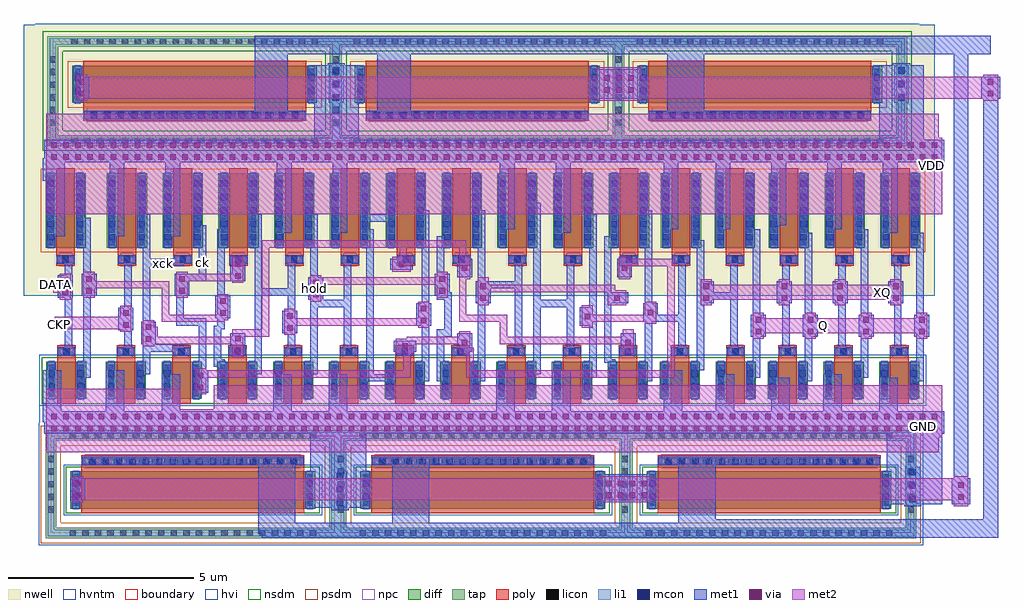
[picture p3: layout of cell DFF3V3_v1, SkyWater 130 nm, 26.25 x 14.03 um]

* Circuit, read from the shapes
.subckt DFF3V3_v1 CKP DATA GND Q VDD XQ ck hold xck
XM1 n1 DATA GND GND sky130_fd_pr__nfet_g5v0d10v5 w=1 l=0.5
XM2 GND n2 n3 GND sky130_fd_pr__nfet_g5v0d10v5 w=1 l=6 m=3
XM3 xck CKP GND GND sky130_fd_pr__nfet_g5v0d10v5 w=1 l=0.5
XM4 ck xck GND GND sky130_fd_pr__nfet_g5v0d10v5 w=1 l=0.5
XM5 n4 xck n1 GND sky130_fd_pr__nfet_g5v0d10v5 w=1 l=0.5
XM6 hold n4 GND GND sky130_fd_pr__nfet_g5v0d10v5 w=1 l=0.5
XM7 n5 hold GND GND sky130_fd_pr__nfet_g5v0d10v5 w=1 l=0.5
XM8 n4 ck n5 GND sky130_fd_pr__nfet_g5v0d10v5 w=1 l=0.5
XM9 n6 ck hold GND sky130_fd_pr__nfet_g5v0d10v5 w=1 l=0.5
XM10 n7 n6 GND GND sky130_fd_pr__nfet_g5v0d10v5 w=1 l=0.5
XM11 n8 n7 GND GND sky130_fd_pr__nfet_g5v0d10v5 w=1 l=0.5
XM12 n8 xck n6 GND sky130_fd_pr__nfet_g5v0d10v5 w=1 l=0.5
XM13 XQ n8 GND GND sky130_fd_pr__nfet_g5v0d10v5 w=1 l=0.5
XM14 Q XQ GND GND sky130_fd_pr__nfet_g5v0d10v5 w=1 l=0.5 m=4
XM15 n1 DATA VDD VDD sky130_fd_pr__pfet_g5v0d10v5 w=2 l=0.5
XM16 VDD n3 n2 VDD sky130_fd_pr__pfet_g5v0d10v5 w=1 l=6 m=3
XM17 xck CKP VDD VDD sky130_fd_pr__pfet_g5v0d10v5 w=2 l=0.5
XM18 ck xck VDD VDD sky130_fd_pr__pfet_g5v0d10v5 w=2 l=0.5
XM19 n4 ck n1 VDD sky130_fd_pr__pfet_g5v0d10v5 w=2 l=0.5
XM20 hold n4 VDD VDD sky130_fd_pr__pfet_g5v0d10v5 w=2 l=0.5
XM21 n5 hold VDD VDD sky130_fd_pr__pfet_g5v0d10v5 w=2 l=0.5
XM22 n4 xck n5 VDD sky130_fd_pr__pfet_g5v0d10v5 w=2 l=0.5
XM23 n6 xck hold VDD sky130_fd_pr__pfet_g5v0d10v5 w=2 l=0.5
XM24 n7 n6 VDD VDD sky130_fd_pr__pfet_g5v0d10v5 w=2 l=0.5
XM25 n8 n7 VDD VDD sky130_fd_pr__pfet_g5v0d10v5 w=2 l=0.5
XM26 n8 ck n6 VDD sky130_fd_pr__pfet_g5v0d10v5 w=2 l=0.5
XM27 XQ n8 VDD VDD sky130_fd_pr__pfet_g5v0d10v5 w=2 l=0.5
XM28 Q XQ VDD VDD sky130_fd_pr__pfet_g5v0d10v5 w=2 l=0.5 m=4
.ends

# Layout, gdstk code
import gdstk
lib = gdstk.Library(unit=1e-6, precision=1e-09)
def R(c, l, rs):  # rectangles x0, y0, x1, y1
    for r in rs: c.add(gdstk.rectangle(r[:2], r[2:], *l))
def A(c, l, x, y, w, h, nx, ny, dx, dy):  # array of equal rectangles
    R(c, l, [(x+i*dx, y+j*dy, x+i*dx+w, y+j*dy+h) for i in range(nx) for j in range(ny)])
nwell = (64, 20)
diff = (65, 20)
tap = (65, 44)
poly = (66, 20)
licon = (66, 44)
li1 = (67, 20)
mcon = (67, 44)
met1 = (68, 20)
via = (68, 44)
met2 = (69, 20)
hvi = (75, 20)
nsdm = (93, 44)
psdm = (94, 20)
npc = (95, 20)
hvntm = (125, 20)
boundary = (235, 4)

sky130_fd_pr__nfet_g5v0d = lib.new_cell('sky130_fd_pr__nfet_g5v0d10v5_D3ALWW')
R(sky130_fd_pr__nfet_g5v0d, diff, [(-3.29,-0.655,3.29,0.345)])
R(sky130_fd_pr__nfet_g5v0d, tap, [(-3.96,-1.455,3.96,-1.165), (-3.96,-1.165,-3.67,1.165), (3.67,-1.165,3.96,1.165), (-3.96,1.165,3.96,1.455)])
R(sky130_fd_pr__nfet_g5v0d, poly, [(-3,-0.785,3,0.785)])
A(sky130_fd_pr__nfet_g5v0d, licon, -3.315, -1.395, 0.17, 0.17, 20, 2, 0.34, 2.62)
A(sky130_fd_pr__nfet_g5v0d, licon, -3.9, -0.765, 0.17, 0.17, 1, 5, 0, 0.34)
A(sky130_fd_pr__nfet_g5v0d, licon, -3.23, -0.58, 0.17, 0.17, 1, 3, 0, 0.34)
A(sky130_fd_pr__nfet_g5v0d, licon, 3.06, -0.58, 0.17, 0.17, 1, 3, 0, 0.34)
A(sky130_fd_pr__nfet_g5v0d, licon, -2.805, 0.535, 0.17, 0.17, 17, 1, 0.34, 0)
R(sky130_fd_pr__nfet_g5v0d, li1, [(-3.9,-1.395,3.9,-1.225), (-3.9,-1.225,-3.73,1.225), (3.73,-1.225,3.9,1.225), (-3.23,-0.675,-3.06,0.365), (3.06,-0.675,3.23,0.365), (-3,0.535,3,0.705), (-3.9,1.225,3.9,1.395)])
A(sky130_fd_pr__nfet_g5v0d, mcon, -2.785, 0.535, 0.17, 0.17, 16, 1, 0.36, 0)
R(sky130_fd_pr__nfet_g5v0d, mcon, [(-3.23,-0.42,-3.06,-0.25), (3.06,-0.42,3.23,-0.25), (-3.23,-0.06,-3.06,0.11), (3.06,-0.06,3.23,0.11)])
R(sky130_fd_pr__nfet_g5v0d, met1, [(-3.26,-0.655,-3.03,0.345), (3.03,-0.655,3.26,0.345), (-2.98,0.505,2.98,0.735)])
R(sky130_fd_pr__nfet_g5v0d, hvi, [(-4.145,-1.64,4.145,1.64)])
R(sky130_fd_pr__nfet_g5v0d, nsdm, [(-3.415,-0.78,3.415,0.47)])
R(sky130_fd_pr__nfet_g5v0d, psdm, [(-4.085,-1.58,4.085,-1.04), (-4.085,-1.04,-3.545,1.04), (3.545,-1.04,4.085,1.04), (-4.085,1.04,4.085,1.58)])
R(sky130_fd_pr__nfet_g5v0d, npc, [(-2.905,0.435,2.905,0.805)])
R(sky130_fd_pr__nfet_g5v0d, hvntm, [(-3.475,-0.84,3.475,0.53)])
R(sky130_fd_pr__nfet_g5v0d, boundary, [(-3.815,-1.31,3.815,1.31)])

c_sky130_fd_pr__nfet_g5v0d = lib.new_cell('sky130_fd_pr__nfet_g5v0d10v5_LZ9LRW')
R(c_sky130_fd_pr__nfet_g5v0d, diff, [(-3.29,-0.655,3.29,0.345)])
R(c_sky130_fd_pr__nfet_g5v0d, tap, [(-3.96,-1.455,3.96,-1.165), (-3.96,-1.165,-3.67,1.165), (3.67,-1.165,3.96,1.165), (-3.96,1.165,3.96,1.455)])
R(c_sky130_fd_pr__nfet_g5v0d, poly, [(-3,-0.785,3,0.785)])
A(c_sky130_fd_pr__nfet_g5v0d, licon, -3.315, -1.395, 0.17, 0.17, 20, 2, 0.34, 2.62)
A(c_sky130_fd_pr__nfet_g5v0d, licon, -3.9, -0.765, 0.17, 0.17, 1, 5, 0, 0.34)
A(c_sky130_fd_pr__nfet_g5v0d, licon, 3.73, -0.765, 0.17, 0.17, 1, 5, 0, 0.34)
A(c_sky130_fd_pr__nfet_g5v0d, licon, -3.23, -0.58, 0.17, 0.17, 1, 3, 0, 0.34)
A(c_sky130_fd_pr__nfet_g5v0d, licon, 3.06, -0.58, 0.17, 0.17, 1, 3, 0, 0.34)
A(c_sky130_fd_pr__nfet_g5v0d, licon, -2.805, 0.535, 0.17, 0.17, 17, 1, 0.34, 0)
R(c_sky130_fd_pr__nfet_g5v0d, li1, [(-3.9,-1.395,3.9,-1.225), (-3.9,-1.225,-3.73,1.225), (3.73,-1.225,3.9,1.225), (-3.23,-0.675,-3.06,0.365), (3.06,-0.675,3.23,0.365), (-3,0.535,3,0.705), (-3.9,1.225,3.9,1.395)])
A(c_sky130_fd_pr__nfet_g5v0d, mcon, -2.785, 0.535, 0.17, 0.17, 16, 1, 0.36, 0)
R(c_sky130_fd_pr__nfet_g5v0d, mcon, [(-3.23,-0.42,-3.06,-0.25), (3.06,-0.42,3.23,-0.25), (-3.23,-0.06,-3.06,0.11), (3.06,-0.06,3.23,0.11)])
R(c_sky130_fd_pr__nfet_g5v0d, met1, [(-3.26,-0.655,-3.03,0.345), (3.03,-0.655,3.26,0.345), (-2.98,0.505,2.98,0.735)])
R(c_sky130_fd_pr__nfet_g5v0d, hvi, [(-4.145,-1.64,4.145,1.64)])
R(c_sky130_fd_pr__nfet_g5v0d, nsdm, [(-3.415,-0.78,3.415,0.47)])
R(c_sky130_fd_pr__nfet_g5v0d, psdm, [(-4.085,-1.58,4.085,-1.04), (-4.085,-1.04,-3.545,1.04), (3.545,-1.04,4.085,1.04), (-4.085,1.04,4.085,1.58)])
R(c_sky130_fd_pr__nfet_g5v0d, npc, [(-2.905,0.435,2.905,0.805)])
R(c_sky130_fd_pr__nfet_g5v0d, hvntm, [(-3.475,-0.84,3.475,0.53)])
R(c_sky130_fd_pr__nfet_g5v0d, boundary, [(-3.815,-1.31,3.815,1.31)])

c_sky130_fd_pr__nfet_g5v0d_ = lib.new_cell('sky130_fd_pr__nfet_g5v0d10v5_EWJL9U')
R(c_sky130_fd_pr__nfet_g5v0d_, diff, [(-3.29,-0.655,3.29,0.345)])
R(c_sky130_fd_pr__nfet_g5v0d_, tap, [(-3.96,-1.455,3.96,-1.165), (-3.96,-1.165,-3.67,1.165), (3.67,-1.165,3.96,1.165), (-3.96,1.165,3.96,1.455)])
R(c_sky130_fd_pr__nfet_g5v0d_, poly, [(-3,-0.785,3,0.785)])
A(c_sky130_fd_pr__nfet_g5v0d_, licon, -3.315, -1.395, 0.17, 0.17, 20, 2, 0.34, 2.62)
A(c_sky130_fd_pr__nfet_g5v0d_, licon, 3.73, -0.765, 0.17, 0.17, 1, 5, 0, 0.34)
A(c_sky130_fd_pr__nfet_g5v0d_, licon, -3.23, -0.58, 0.17, 0.17, 1, 3, 0, 0.34)
A(c_sky130_fd_pr__nfet_g5v0d_, licon, 3.06, -0.58, 0.17, 0.17, 1, 3, 0, 0.34)
A(c_sky130_fd_pr__nfet_g5v0d_, licon, -2.805, 0.535, 0.17, 0.17, 17, 1, 0.34, 0)
R(c_sky130_fd_pr__nfet_g5v0d_, li1, [(-3.9,-1.395,3.9,-1.225), (-3.9,-1.225,-3.73,1.225), (3.73,-1.225,3.9,1.225), (-3.23,-0.675,-3.06,0.365), (3.06,-0.675,3.23,0.365), (-3,0.535,3,0.705), (-3.9,1.225,3.9,1.395)])
A(c_sky130_fd_pr__nfet_g5v0d_, mcon, -2.785, 0.535, 0.17, 0.17, 16, 1, 0.36, 0)
R(c_sky130_fd_pr__nfet_g5v0d_, mcon, [(-3.23,-0.42,-3.06,-0.25), (3.06,-0.42,3.23,-0.25), (-3.23,-0.06,-3.06,0.11), (3.06,-0.06,3.23,0.11)])
R(c_sky130_fd_pr__nfet_g5v0d_, met1, [(-3.26,-0.655,-3.03,0.345), (3.03,-0.655,3.26,0.345), (-2.98,0.505,2.98,0.735)])
R(c_sky130_fd_pr__nfet_g5v0d_, hvi, [(-4.145,-1.64,4.145,1.64)])
R(c_sky130_fd_pr__nfet_g5v0d_, nsdm, [(-3.415,-0.78,3.415,0.47)])
R(c_sky130_fd_pr__nfet_g5v0d_, psdm, [(-4.085,-1.58,4.085,-1.04), (-4.085,-1.04,-3.545,1.04), (3.545,-1.04,4.085,1.04), (-4.085,1.04,4.085,1.58)])
R(c_sky130_fd_pr__nfet_g5v0d_, npc, [(-2.905,0.435,2.905,0.805)])
R(c_sky130_fd_pr__nfet_g5v0d_, hvntm, [(-3.475,-0.84,3.475,0.53)])
R(c_sky130_fd_pr__nfet_g5v0d_, boundary, [(-3.815,-1.31,3.815,1.31)])

c_sky130_fd_pr__nfet_g5v0d__ = lib.new_cell('sky130_fd_pr__nfet_g5v0d10v5_TNTERH')
R(c_sky130_fd_pr__nfet_g5v0d__, diff, [(-0.54,-0.655,0.54,0.345)])
R(c_sky130_fd_pr__nfet_g5v0d__, poly, [(-0.25,-0.785,0.25,0.785)])
A(c_sky130_fd_pr__nfet_g5v0d__, licon, -0.48, -0.58, 0.17, 0.17, 1, 3, 0, 0.34)
A(c_sky130_fd_pr__nfet_g5v0d__, licon, 0.31, -0.58, 0.17, 0.17, 1, 3, 0, 0.34)
R(c_sky130_fd_pr__nfet_g5v0d__, licon, [(-0.085,0.535,0.085,0.705)])
R(c_sky130_fd_pr__nfet_g5v0d__, li1, [(-0.48,-0.675,-0.31,0.365), (0.31,-0.675,0.48,0.365), (-0.25,0.535,0.25,0.705)])
R(c_sky130_fd_pr__nfet_g5v0d__, mcon, [(-0.48,-0.42,-0.31,-0.25), (0.31,-0.42,0.48,-0.25), (-0.48,-0.06,-0.31,0.11), (0.31,-0.06,0.48,0.11), (-0.085,0.535,0.085,0.705)])
R(c_sky130_fd_pr__nfet_g5v0d__, met1, [(-0.51,-0.655,-0.28,0.345), (0.28,-0.655,0.51,0.345), (-0.23,0.505,0.23,0.735)])
R(c_sky130_fd_pr__nfet_g5v0d__, hvi, [(-0.725,-0.84,0.725,0.53)])
R(c_sky130_fd_pr__nfet_g5v0d__, nsdm, [(-0.665,-0.78,0.665,0.47)])
R(c_sky130_fd_pr__nfet_g5v0d__, npc, [(-0.185,0.435,0.185,0.805)])
R(c_sky130_fd_pr__nfet_g5v0d__, hvntm, [(-0.725,-0.84,0.725,0.53)])

c_sky130_fd_pr__nfet_g5v0d___ = lib.new_cell('sky130_fd_pr__nfet_g5v0d10v5_8PT4UE')
R(c_sky130_fd_pr__nfet_g5v0d___, diff, [(-0.54,-0.655,0.54,0.345)])
R(c_sky130_fd_pr__nfet_g5v0d___, poly, [(-0.25,-0.785,0.25,0.785)])
A(c_sky130_fd_pr__nfet_g5v0d___, licon, -0.48, -0.58, 0.17, 0.17, 1, 3, 0, 0.34)
A(c_sky130_fd_pr__nfet_g5v0d___, licon, 0.31, -0.58, 0.17, 0.17, 1, 3, 0, 0.34)
R(c_sky130_fd_pr__nfet_g5v0d___, licon, [(-0.085,0.535,0.085,0.705)])
R(c_sky130_fd_pr__nfet_g5v0d___, li1, [(-0.48,-0.675,-0.31,0.365), (0.31,-0.675,0.48,0.365), (-0.25,0.535,0.25,0.705)])
R(c_sky130_fd_pr__nfet_g5v0d___, mcon, [(-0.48,-0.42,-0.31,-0.25), (0.31,-0.42,0.48,-0.25), (-0.48,-0.06,-0.31,0.11), (0.31,-0.06,0.48,0.11), (-0.085,0.535,0.085,0.705)])
R(c_sky130_fd_pr__nfet_g5v0d___, met1, [(-0.51,-0.655,-0.28,0.345), (0.28,-0.655,0.51,0.345), (-0.23,0.505,0.23,0.735)])
R(c_sky130_fd_pr__nfet_g5v0d___, hvi, [(-0.725,-0.84,0.725,0.53)])
R(c_sky130_fd_pr__nfet_g5v0d___, nsdm, [(-0.665,-0.78,0.665,0.47)])
R(c_sky130_fd_pr__nfet_g5v0d___, npc, [(-0.185,0.435,0.185,0.805)])
R(c_sky130_fd_pr__nfet_g5v0d___, hvntm, [(-0.725,-0.84,0.725,0.53)])

sky130_fd_pr__pfet_g5v0d = lib.new_cell('sky130_fd_pr__pfet_g5v0d10v5_9TXTD4')
R(sky130_fd_pr__pfet_g5v0d, nwell, [(-4.29,-1.81,4.29,1.81)])
R(sky130_fd_pr__pfet_g5v0d, diff, [(-3.29,-0.32,3.29,0.68)])
R(sky130_fd_pr__pfet_g5v0d, tap, [(-3.96,-1.48,3.96,-1.19), (-3.96,-1.19,-3.67,1.19), (3.67,-1.19,3.96,1.19), (-3.96,1.19,3.96,1.48)])
R(sky130_fd_pr__pfet_g5v0d, poly, [(-3,-0.805,3,0.81)])
A(sky130_fd_pr__pfet_g5v0d, licon, -3.315, -1.42, 0.17, 0.17, 20, 2, 0.34, 2.67)
A(sky130_fd_pr__pfet_g5v0d, licon, -3.9, -0.935, 0.17, 0.17, 1, 6, 0, 0.34)
A(sky130_fd_pr__pfet_g5v0d, licon, -2.805, -0.725, 0.17, 0.17, 17, 1, 0.34, 0)
A(sky130_fd_pr__pfet_g5v0d, licon, -3.23, -0.245, 0.17, 0.17, 1, 3, 0, 0.34)
A(sky130_fd_pr__pfet_g5v0d, licon, 3.06, -0.245, 0.17, 0.17, 1, 3, 0, 0.34)
R(sky130_fd_pr__pfet_g5v0d, li1, [(-3.9,-1.42,3.9,-1.25), (-3.9,-1.25,-3.73,1.25), (3.73,-1.25,3.9,1.25), (-3,-0.725,3,-0.555), (-3.23,-0.34,-3.06,0.7), (3.06,-0.34,3.23,0.7), (-3.9,1.25,3.9,1.42)])
A(sky130_fd_pr__pfet_g5v0d, mcon, -2.785, -0.725, 0.17, 0.17, 16, 1, 0.36, 0)
R(sky130_fd_pr__pfet_g5v0d, mcon, [(-3.23,-0.085,-3.06,0.085), (3.06,-0.085,3.23,0.085), (-3.23,0.275,-3.06,0.445), (3.06,0.275,3.23,0.445)])
R(sky130_fd_pr__pfet_g5v0d, met1, [(-2.98,-0.755,2.98,-0.525), (-3.26,-0.32,-3.03,0.68), (3.03,-0.32,3.26,0.68)])
R(sky130_fd_pr__pfet_g5v0d, hvi, [(-4.29,-1.81,4.29,1.81)])
R(sky130_fd_pr__pfet_g5v0d, nsdm, [(-4.085,-1.605,4.085,-1.065), (-4.085,-1.065,-3.545,1.065), (3.545,-1.065,4.085,1.065), (-4.085,1.065,4.085,1.605)])
R(sky130_fd_pr__pfet_g5v0d, psdm, [(-3.415,-0.445,3.415,0.805)])
R(sky130_fd_pr__pfet_g5v0d, npc, [(-2.905,-0.825,2.905,-0.455)])
R(sky130_fd_pr__pfet_g5v0d, boundary, [(-3.815,-1.335,3.815,1.335)])

c_sky130_fd_pr__pfet_g5v0d = lib.new_cell('sky130_fd_pr__pfet_g5v0d10v5_U6HYY6')
R(c_sky130_fd_pr__pfet_g5v0d, nwell, [(-0.72,-1.32,0.72,1.49)])
R(c_sky130_fd_pr__pfet_g5v0d, diff, [(-0.54,-0.82,0.54,1.18)])
R(c_sky130_fd_pr__pfet_g5v0d, poly, [(-0.25,-1.305,0.25,1.31)])
A(c_sky130_fd_pr__pfet_g5v0d, licon, -0.48, -0.755, 0.17, 0.17, 1, 6, 0, 0.34)
A(c_sky130_fd_pr__pfet_g5v0d, licon, 0.31, -0.755, 0.17, 0.17, 1, 6, 0, 0.34)
R(c_sky130_fd_pr__pfet_g5v0d, licon, [(-0.085,-1.225,0.085,-1.055)])
R(c_sky130_fd_pr__pfet_g5v0d, li1, [(-0.25,-1.225,0.25,-1.055), (-0.48,-0.84,-0.31,1.2), (0.31,-0.84,0.48,1.2)])
A(c_sky130_fd_pr__pfet_g5v0d, mcon, -0.48, -0.625, 0.17, 0.17, 1, 5, 0, 0.36)
A(c_sky130_fd_pr__pfet_g5v0d, mcon, 0.31, -0.625, 0.17, 0.17, 1, 5, 0, 0.36)
R(c_sky130_fd_pr__pfet_g5v0d, mcon, [(-0.085,-1.225,0.085,-1.055)])
R(c_sky130_fd_pr__pfet_g5v0d, met1, [(-0.23,-1.255,0.23,-1.025), (-0.51,-0.82,-0.28,1.18), (0.28,-0.82,0.51,1.18)])
R(c_sky130_fd_pr__pfet_g5v0d, hvi, [(-0.72,-1.32,0.72,-1.005), (-0.725,-1.005,0.725,1.365), (-0.72,1.365,0.72,1.49)])
R(c_sky130_fd_pr__pfet_g5v0d, psdm, [(-0.665,-0.945,0.665,1.305)])
R(c_sky130_fd_pr__pfet_g5v0d, npc, [(-0.185,-1.325,0.185,-0.955)])

c_sky130_fd_pr__pfet_g5v0d_ = lib.new_cell('sky130_fd_pr__pfet_g5v0d10v5_U6HYU6')
R(c_sky130_fd_pr__pfet_g5v0d_, nwell, [(-0.72,-1.32,0.72,1.49)])
R(c_sky130_fd_pr__pfet_g5v0d_, diff, [(-0.54,-0.82,0.54,1.18)])
R(c_sky130_fd_pr__pfet_g5v0d_, poly, [(-0.25,-1.305,0.25,1.31)])
A(c_sky130_fd_pr__pfet_g5v0d_, licon, -0.48, -0.755, 0.17, 0.17, 1, 6, 0, 0.34)
A(c_sky130_fd_pr__pfet_g5v0d_, licon, 0.31, -0.755, 0.17, 0.17, 1, 6, 0, 0.34)
R(c_sky130_fd_pr__pfet_g5v0d_, licon, [(-0.085,-1.225,0.085,-1.055)])
R(c_sky130_fd_pr__pfet_g5v0d_, li1, [(-0.25,-1.225,0.25,-1.055), (-0.48,-0.84,-0.31,1.2), (0.31,-0.84,0.48,1.2)])
A(c_sky130_fd_pr__pfet_g5v0d_, mcon, -0.48, -0.625, 0.17, 0.17, 1, 5, 0, 0.36)
A(c_sky130_fd_pr__pfet_g5v0d_, mcon, 0.31, -0.625, 0.17, 0.17, 1, 5, 0, 0.36)
R(c_sky130_fd_pr__pfet_g5v0d_, mcon, [(-0.085,-1.225,0.085,-1.055)])
R(c_sky130_fd_pr__pfet_g5v0d_, met1, [(-0.23,-1.255,0.23,-1.025), (-0.51,-0.82,-0.28,1.18), (0.28,-0.82,0.51,1.18)])
R(c_sky130_fd_pr__pfet_g5v0d_, hvi, [(-0.72,-1.32,0.72,-1.005), (-0.725,-1.005,0.725,1.365), (-0.72,1.365,0.72,1.49)])
R(c_sky130_fd_pr__pfet_g5v0d_, psdm, [(-0.665,-0.945,0.665,1.305)])
R(c_sky130_fd_pr__pfet_g5v0d_, npc, [(-0.185,-1.325,0.185,-0.955)])

c_sky130_fd_pr__pfet_g5v0d__ = lib.new_cell('sky130_fd_pr__pfet_g5v0d10v5_K8K9SD')
R(c_sky130_fd_pr__pfet_g5v0d__, nwell, [(-0.72,-1.32,0.72,1.49)])
R(c_sky130_fd_pr__pfet_g5v0d__, diff, [(-0.54,-0.82,0.54,1.18)])
R(c_sky130_fd_pr__pfet_g5v0d__, poly, [(-0.25,-1.305,0.25,1.31)])
A(c_sky130_fd_pr__pfet_g5v0d__, licon, -0.48, -0.755, 0.17, 0.17, 1, 6, 0, 0.34)
A(c_sky130_fd_pr__pfet_g5v0d__, licon, 0.31, -0.755, 0.17, 0.17, 1, 6, 0, 0.34)
R(c_sky130_fd_pr__pfet_g5v0d__, licon, [(-0.085,-1.225,0.085,-1.055)])
R(c_sky130_fd_pr__pfet_g5v0d__, li1, [(-0.25,-1.225,0.25,-1.055), (-0.48,-0.84,-0.31,1.2), (0.31,-0.84,0.48,1.2)])
A(c_sky130_fd_pr__pfet_g5v0d__, mcon, -0.48, -0.625, 0.17, 0.17, 1, 5, 0, 0.36)
A(c_sky130_fd_pr__pfet_g5v0d__, mcon, 0.31, -0.625, 0.17, 0.17, 1, 5, 0, 0.36)
R(c_sky130_fd_pr__pfet_g5v0d__, mcon, [(-0.085,-1.225,0.085,-1.055)])
R(c_sky130_fd_pr__pfet_g5v0d__, met1, [(-0.23,-1.255,0.23,-1.025), (-0.51,-0.82,-0.28,1.18), (0.28,-0.82,0.51,1.18)])
R(c_sky130_fd_pr__pfet_g5v0d__, hvi, [(-0.72,-1.32,0.72,-1.005), (-0.725,-1.005,0.725,1.365), (-0.72,1.365,0.72,1.49)])
R(c_sky130_fd_pr__pfet_g5v0d__, psdm, [(-0.665,-0.945,0.665,1.305)])
R(c_sky130_fd_pr__pfet_g5v0d__, npc, [(-0.185,-1.325,0.185,-0.955)])

dff3v3_v1 = lib.new_cell('DFF3V3_v1')
R(dff3v3_v1, nwell, [(1.1,5.2,25.6,12.3), (1.1,12.3,1.4,12.5), (25.1,12.3,25.6,12.5)])
R(dff3v3_v1, li1, [(9.4,-0.5,9.8,0.5), (24.8,-0.4,25.2,0.6), (9.3,10.4,9.7,11.4), (24.5,10.4,24.9,11.4)])
A(dff3v3_v1, mcon, 9.515, -0.445, 0.17, 0.17, 1, 3, 0, 0.36)
A(dff3v3_v1, mcon, 24.915, -0.345, 0.17, 0.17, 1, 3, 0, 0.36)
A(dff3v3_v1, mcon, 9.415, 10.455, 0.17, 0.17, 1, 3, 0, 0.36)
A(dff3v3_v1, mcon, 24.615, 10.455, 0.17, 0.17, 1, 3, 0, 0.36)
A(dff3v3_v1, met1, 21.5, 3.7, 0.2, 1.3, 3, 1, 1.5, 0)
A(dff3v3_v1, met1, 22.05, 4.1, 0.4, 0.6, 3, 1, 1.5, 0)
A(dff3v3_v1, met1, 21.35, 5, 0.4, 0.6, 3, 1, 1.5, 0)
A(dff3v3_v1, met1, 21.5, 5.6, 0.2, 0.6, 3, 1, 1.5, 0)
R(dff3v3_v1, met1, [(7.5,-1.3,27.3,-1.2), (7.4,-1.2,27.3,-0.9), (7.4,-0.9,8.4,0.7), (11,-0.9,12,0.7), (18.7,-0.9,27.3,-0.8), (18.7,-0.8,19.7,0.8), (26.9,-0.8,27.3,10.5), (9.37,-0.56,9.83,-0.5), (8.8,-0.5,10.3,1.5), (24.77,-0.46,25.23,-0.4), (24.3,-0.4,25.8,1.5), (26.05,-0.4,26.55,0.3), (2.35,-0.3,2.75,0.3), (16.5,-0.3,18.05,0.3), (16.5,0.3,18,0.4), (26.1,0.3,26.5,11.7), (1.65,1.5,25.85,1.8), (1.6,1.8,25.85,2.1), (1.6,2.1,2.1,3.2), (3.3,2.1,3.8,3.2), (4.8,2.1,5.3,3.1), (7.8,2.1,8.3,3.1), (9.3,2.1,9.8,3.1), (13.8,2.1,14.3,3.2), (15.3,2.1,15.8,3.2), (18.3,2.1,18.8,3.2), (19.7,2.1,20.2,3.1), (21.2,2.1,21.7,3), (22.6,2.1,23.1,3.1), (24.1,2.1,24.6,3), (5.65,2.6,6.05,3.2), (10.3,2.9,11.1,3.1), (11.8,2.9,12,4.4), (12.2,2.9,12.4,4.1), (13.3,2.9,13.5,5), (17.8,2.9,18,4.5), (22.1,2.9,22.3,4.1), (25.1,2.9,25.3,4.1), (2.7,3,2.9,5.2), (16.3,3,16.5,4.4), (20.7,3,20.9,4.1), (23.6,3,23.8,4.1), (4.3,3.1,4.5,3.7), (7.3,3.1,7.5,5.2), (8.8,3.1,9,4.9), (10.3,3.1,10.5,7), (14.8,3.1,15,4.9), (5.8,3.2,6,4.4), (19.2,3.2,19.4,5), (6.2,3.3,6.5,3.5), (16.8,3.3,17,3.4), (16.7,3.4,17,3.5), (6.2,3.5,6.4,4.3), (16.7,3.5,16.9,5), (6.65,3.6,7.05,4.2), (2.2,3.7,2.4,5.15), (3.8,3.7,4,4.28), (4.3,3.7,5.4,3.9), (8.2,3.7,8.4,4.2), (9.7,3.7,9.9,4.9), (11.05,3.7,11.65,4), (12.75,3.7,13.15,4.2), (14.3,3.7,14.5,5.4), (15.7,3.7,15.9,4.9), (17.15,3.7,17.55,4.2), (18.7,3.7,18.9,4.5), (20.1,3.7,20.3,5.1), (4.25,3.9,4.65,4.5), (12.2,4.1,12.6,4.3), (20.65,4.1,21.05,4.7), (8.05,4.2,8.45,4.8), (3.64,4.28,4.04,4.88), (6.2,4.3,6.5,4.4), (12.4,4.3,12.6,5.1), (5.2,4.4,6,4.6), (6.3,4.4,6.5,4.6), (11.65,4.4,12.05,5), (16.05,4.4,16.5,4.9), (4.29,4.5,4.5,5.02), (17.75,4.5,18.9,4.7), (5.2,4.6,5.4,5.2), (6.25,4.6,6.65,5.2), (17.75,4.7,18.15,5), (18.7,4.7,18.9,6.2), (20.7,4.7,20.9,7), (22.1,4.7,22.3,6.9), (23.6,4.7,23.8,7), (25.1,4.7,25.3,6.9), (8.2,4.8,8.4,5.2), (3.8,4.88,4,6.2), (8.8,4.9,9.9,5.1), (14.8,4.9,15.9,5.1), (16.3,4.9,16.5,7.4), (11.8,5,12,7.5), (13.25,5,13.65,5.4), (16.7,5,17.35,5.3), (17.8,5,18,7.5), (19.2,5,19.65,5.1), (4.3,5.02,4.5,6), (8.75,5.1,9.15,5.7), (9.7,5.1,9.9,6.2), (12.2,5.1,12.6,5.2), (14.8,5.1,15,7.7), (15.7,5.1,15.9,6.2), (19.2,5.1,20.3,5.3), (2.01,5.15,2.41,5.75), (2.65,5.2,3.05,5.8), (5.15,5.2,5.55,5.6), (6.3,5.2,6.5,7), (7.3,5.2,8.4,5.4), (12.15,5.2,12.6,5.3), (12.15,5.3,12.55,5.8), (16.7,5.3,16.9,6.8), (19.2,5.3,19.65,5.6), (20.1,5.3,20.3,6.2), (7.3,5.4,7.5,7.4), (8.2,5.4,8.4,6.2), (13.25,5.4,14.5,5.6), (5.15,5.6,6,5.8), (6.65,5.6,7.05,6.2), (13.3,5.6,13.5,7.5), (14.3,5.6,14.5,6.3), (19.2,5.6,19.4,6.7), (8.8,5.7,9,7.4), (12.75,5.7,13.15,6.2), (17.05,5.7,17.45,6.2), (2.2,5.75,2.4,6.2), (2.7,5.8,2.9,7.3), (5.8,5.8,6,7.1), (12.2,5.8,12.4,6.8), (10.95,5.9,11.55,6.2), (4.3,6,5.4,6.2), (4.3,6.2,4.5,7.4), (1.8,6.8,2.2,8.3), (3.4,6.8,3.8,8.8), (4.9,6.8,5.3,8.8), (7.9,6.9,8.3,8.8), (9.4,6.9,9.8,8.8), (15.4,6.9,15.8,8.8), (24.2,6.9,24.6,8.8), (13.9,7,14.3,8.8), (18.3,7,18.7,8.8), (19.7,7,20.1,8.8), (22.7,7,23.1,8.8), (21.2,7.1,21.6,8.8), (10.3,7.2,11,7.4), (2.6,7.4,2.7,7.5), (1.6,8.3,2.2,8.8), (1.6,8.8,25.85,8.9), (1.65,8.9,25.85,9.4), (8.9,9.4,10.1,11.4), (24.1,9.4,25.3,11.4), (10.6,10,11.5,11.7), (7.3,10.1,8.2,11.7), (18.4,10.1,19.4,11.7), (2.45,10.5,2.85,11.1), (16.4,10.5,17.8,11.3), (26.85,10.5,27.35,11.1), (9.27,11.4,9.73,11.46), (24.47,11.4,24.93,11.46), (7.3,11.7,27.1,12.2)])
A(dff3v3_v1, via, 16.745, -0.235, 0.15, 0.15, 4, 2, 0.32, 0.32)
A(dff3v3_v1, via, 1.835, 1.565, 0.15, 0.15, 75, 2, 0.32, 0.32)
A(dff3v3_v1, via, 22.175, 4.165, 0.15, 0.15, 3, 2, 1.5, 0.32)
A(dff3v3_v1, via, 21.475, 5.065, 0.15, 0.15, 3, 2, 1.5, 0.32)
A(dff3v3_v1, via, 1.835, 8.865, 0.15, 0.15, 75, 2, 0.32, 0.32)
A(dff3v3_v1, via, 16.705, 10.665, 0.15, 0.15, 3, 2, 0.32, 0.32)
R(dff3v3_v1, via, [(26.225,-0.285,26.375,-0.135), (2.475,-0.235,2.625,-0.085), (26.225,0.035,26.375,0.185), (2.475,0.085,2.625,0.235), (5.775,2.665,5.925,2.815), (5.775,2.985,5.925,3.135), (6.775,3.665,6.925,3.815), (11.275,3.775,11.425,3.925), (12.875,3.875,13.025,4.025), (17.275,3.875,17.425,4.025), (4.375,3.965,4.525,4.115), (6.775,3.985,6.925,4.135), (20.775,4.165,20.925,4.315), (8.175,4.265,8.325,4.415), (4.375,4.285,4.525,4.435), (3.765,4.345,3.915,4.495), (11.775,4.465,11.925,4.615), (20.775,4.485,20.925,4.635), (16.175,4.575,16.325,4.725), (8.175,4.585,8.325,4.735), (3.765,4.665,3.915,4.815), (6.375,4.665,6.525,4.815), (17.875,4.675,18.025,4.825), (11.775,4.785,11.925,4.935), (6.375,4.985,6.525,5.135), (13.375,5.065,13.525,5.215), (19.375,5.065,19.525,5.215), (16.975,5.075,17.125,5.225), (8.875,5.165,9.025,5.315), (2.135,5.215,2.285,5.365), (2.775,5.265,2.925,5.415), (5.275,5.265,5.425,5.415), (12.275,5.265,12.425,5.415), (13.375,5.385,13.525,5.535), (19.375,5.385,19.525,5.535), (8.875,5.485,9.025,5.635), (2.135,5.535,2.285,5.685), (2.775,5.585,2.925,5.735), (5.275,5.585,5.425,5.735), (12.275,5.585,12.425,5.735), (6.775,5.665,6.925,5.815), (12.875,5.875,13.025,6.025), (17.175,5.875,17.325,6.025), (11.175,5.975,11.325,6.125), (6.775,5.985,6.925,6.135), (2.575,10.565,2.725,10.715), (27.025,10.565,27.175,10.715), (2.575,10.885,2.725,11.035), (27.025,10.885,27.175,11.035)])
A(dff3v3_v1, met2, 22.1, 4.05, 0.3, 0.15, 3, 2, 1.5, 0.55)
A(dff3v3_v1, met2, 21.4, 4.95, 0.3, 0.15, 3, 2, 1.5, 0.55)
R(dff3v3_v1, met2, [(26.1,-0.45,26.5,-0.3), (2.4,-0.35,2.7,-0.3), (16.6,-0.35,18,-0.3), (2.4,-0.3,26.5,0.3), (2.4,0.3,2.7,0.35), (16.6,0.3,18,0.35), (26.1,0.3,26.5,0.35), (1.7,1,25.7,1.4), (1.7,1.4,25.8,2.15), (1.7,2.15,5.3,2.7), (6.2,2.15,25.8,2.8), (5.7,2.55,6,3), (5.7,3,11.5,3.2), (13,3,18.6,3.2), (5.7,3.2,6,3.25), (11.3,3.2,11.5,3.65), (13,3.2,13.2,3.65), (18.4,3.2,18.6,6), (6.7,3.55,7,3.9), (11.1,3.65,11.6,3.9), (12.8,3.65,13.2,3.8), (17.2,3.65,17.5,3.9), (12.8,3.8,13.1,3.9), (4.3,3.85,4.6,3.9), (4.3,3.9,7,4.1), (11.1,3.9,13.1,4.05), (13.9,3.9,17.5,4.1), (11.4,4.05,13.1,4.1), (20.7,4.05,21,4.2), (4.3,4.1,4.7,4.37), (6.7,4.1,7.7,4.3), (12.8,4.1,13.1,4.25), (13.9,4.1,14.1,4.5), (17.2,4.1,17.5,4.3), (8.1,4.15,8.4,4.4), (20.7,4.2,25.4,4.6), (3.69,4.23,3.99,4.3), (1.93,4.3,3.99,4.64), (7.5,4.3,7.7,6.5), (11.7,4.35,12,4.4), (16.1,4.35,16.4,4.5), (4.3,4.37,4.6,4.55), (8.1,4.4,12,4.6), (17.8,4.45,18.1,4.5), (4.8,4.5,6.5,4.55), (12.8,4.5,14.1,4.7), (16.1,4.5,18.1,4.7), (4.8,4.55,6.6,4.7), (8.1,4.6,8.4,4.85), (11.7,4.6,12,5.05), (20.7,4.6,21,4.75), (3.69,4.64,3.99,4.93), (4.8,4.7,5,5.4), (6.3,4.7,6.6,5.25), (12.8,4.7,13,5.65), (16.1,4.7,16.4,4.95), (17.8,4.7,18.1,5.05), (13.3,4.95,13.6,5.3), (16.8,4.95,17.3,5.3), (19.3,4.95,19.6,5.1), (8.8,5.05,9.1,5.5), (2.06,5.1,2.36,5.29), (19.3,5.1,24.7,5.5), (2.7,5.15,3,5.4), (5.2,5.15,5.5,5.6), (12.2,5.15,12.5,5.5), (1.89,5.29,2.36,5.6), (13.3,5.3,17.3,5.35), (13.3,5.35,17,5.5), (2.7,5.4,5,5.6), (8.8,5.5,12.5,5.7), (13.3,5.5,13.6,5.7), (19.3,5.5,19.6,5.65), (6.7,5.55,7,5.6), (2.06,5.6,2.36,5.8), (2.7,5.6,3,5.85), (5.2,5.6,7,5.8), (12.8,5.65,13.1,6.25), (17.1,5.65,17.4,6), (8.8,5.7,9.1,5.75), (12.2,5.7,12.5,5.85), (5.2,5.8,5.5,5.85), (6.7,5.8,7,6.25), (11,5.85,11.5,6.25), (17.1,6,18.6,6.2), (17.1,6.2,17.4,6.25), (11.2,6.25,11.4,6.5), (12.8,6.25,13,6.5), (7.5,6.5,13,6.7), (1.7,7.4,25.8,9.45), (1.7,9.45,25.7,10.1), (2.5,10.45,2.8,10.5), (16.5,10.45,17.7,10.5), (26.9,10.45,27.3,10.5), (2.5,10.5,27.3,11.1), (2.5,11.1,2.8,11.15), (16.5,11.1,17.7,11.35), (26.9,11.1,27.3,11.15)])
A(dff3v3_v1, hvi, 4.565, 2.245, 0.05, 1.37, 9, 1, 1.5, 0)
A(dff3v3_v1, hvi, 4.59, 6, 0.06, 0.315, 9, 1, 1.5, 0)
A(dff3v3_v1, hvi, 4.595, 6.315, 0.05, 2.37, 9, 1, 1.5, 0)
A(dff3v3_v1, hvi, 4.59, 8.685, 0.06, 0.125, 9, 1, 1.5, 0)
R(dff3v3_v1, hvi, [(1.515,1.775,25.285,2.245), (2.965,2.245,3.115,3.615), (19.465,2.245,19.515,3.615), (22.365,2.245,22.415,3.615), (23.865,2.245,23.915,3.615), (1.1,5.2,25.6,6), (1.1,6,1.5,6.315), (2.94,6,3.15,6.315), (19.49,6,19.5,6.315), (20.94,6,20.95,6.315), (22.39,6,22.45,6.315), (23.89,6,23.95,6.315), (25.39,6,25.6,6.315), (1.1,6.315,1.495,8.685), (2.945,6.315,3.145,8.685), (22.395,6.315,22.445,8.685), (23.895,6.315,23.945,8.685), (25.395,6.315,25.6,8.685), (1.1,8.685,1.5,8.81), (2.94,8.685,3.15,8.81), (19.49,8.685,19.5,8.81), (20.94,8.685,20.95,8.81), (22.39,8.685,22.45,8.81), (23.89,8.685,23.95,8.81), (25.39,8.685,25.6,8.81), (1.1,8.81,25.6,8.9), (1.1,8.9,1.4,12.5), (25.18,8.9,25.6,12.5)])
A(dff3v3_v1, nsdm, 4.505, 2.305, 0.17, 1.25, 9, 1, 1.5, 0)
R(dff3v3_v1, nsdm, [(2.905,2.305,3.175,3.555), (18.005,2.305,18.075,3.555), (19.405,2.305,19.575,3.555), (20.905,2.305,20.975,3.555), (22.305,2.305,22.475,3.555), (23.805,2.305,23.975,3.555)])
A(dff3v3_v1, psdm, 4.535, 6.375, 0.17, 2.25, 9, 1, 1.5, 0)
R(dff3v3_v1, psdm, [(2.885,6.375,3.205,8.625), (18.035,6.375,18.105,8.625), (19.435,6.375,19.555,8.625), (20.885,6.375,21.005,8.625), (22.335,6.375,22.505,8.625), (23.835,6.375,24.005,8.625)])
A(dff3v3_v1, hvntm, 4.565, 2.245, 0.05, 1.37, 9, 1, 1.5, 0)
R(dff3v3_v1, hvntm, [(2.965,2.245,3.115,3.615), (19.465,2.245,19.515,3.615), (22.365,2.245,22.415,3.615), (23.865,2.245,23.915,3.615)])
dff3v3_v1.add(gdstk.Reference(sky130_fd_pr__nfet_g5v0d, (5.64,0.135)))
dff3v3_v1.add(gdstk.Reference(c_sky130_fd_pr__nfet_g5v0d, (13.44,0.135)))
dff3v3_v1.add(gdstk.Reference(c_sky130_fd_pr__nfet_g5v0d_, (21.14,0.135)))
dff3v3_v1.add(gdstk.Reference(c_sky130_fd_pr__nfet_g5v0d__, (8.34,3.085)))
dff3v3_v1.add(gdstk.Reference(c_sky130_fd_pr__nfet_g5v0d___, (9.84,3.085)))
dff3v3_v1.add(gdstk.Reference(c_sky130_fd_pr__nfet_g5v0d___, (3.84,3.085)))
dff3v3_v1.add(gdstk.Reference(c_sky130_fd_pr__nfet_g5v0d___, (5.34,3.085)))
dff3v3_v1.add(gdstk.Reference(c_sky130_fd_pr__nfet_g5v0d___, (2.24,3.085)))
dff3v3_v1.add(gdstk.Reference(c_sky130_fd_pr__nfet_g5v0d___, (6.84,3.085)))
dff3v3_v1.add(gdstk.Reference(c_sky130_fd_pr__nfet_g5v0d___, (14.34,3.085)))
dff3v3_v1.add(gdstk.Reference(c_sky130_fd_pr__nfet_g5v0d___, (11.34,3.085)))
dff3v3_v1.add(gdstk.Reference(c_sky130_fd_pr__nfet_g5v0d___, (17.34,3.085)))
dff3v3_v1.add(gdstk.Reference(c_sky130_fd_pr__nfet_g5v0d___, (12.84,3.085)))
dff3v3_v1.add(gdstk.Reference(c_sky130_fd_pr__nfet_g5v0d___, (15.84,3.085)))
dff3v3_v1.add(gdstk.Reference(c_sky130_fd_pr__nfet_g5v0d___, (18.74,3.085)))
dff3v3_v1.add(gdstk.Reference(c_sky130_fd_pr__nfet_g5v0d___, (20.24,3.085)))
dff3v3_v1.add(gdstk.Reference(c_sky130_fd_pr__nfet_g5v0d___, (21.64,3.085)))
dff3v3_v1.add(gdstk.Reference(c_sky130_fd_pr__nfet_g5v0d___, (23.14,3.085)))
dff3v3_v1.add(gdstk.Reference(c_sky130_fd_pr__nfet_g5v0d___, (24.64,3.085)))
dff3v3_v1.add(gdstk.Reference(sky130_fd_pr__pfet_g5v0d, (5.69,10.71)))
dff3v3_v1.add(gdstk.Reference(sky130_fd_pr__pfet_g5v0d, (13.29,10.71)))
dff3v3_v1.add(gdstk.Reference(c_sky130_fd_pr__pfet_g5v0d, (8.37,7.32)))
dff3v3_v1.add(gdstk.Reference(c_sky130_fd_pr__pfet_g5v0d, (9.87,7.32)))
dff3v3_v1.add(gdstk.Reference(c_sky130_fd_pr__pfet_g5v0d, (3.87,7.32)))
dff3v3_v1.add(gdstk.Reference(c_sky130_fd_pr__pfet_g5v0d, (5.37,7.32)))
dff3v3_v1.add(gdstk.Reference(c_sky130_fd_pr__pfet_g5v0d, (2.22,7.32)))
dff3v3_v1.add(gdstk.Reference(c_sky130_fd_pr__pfet_g5v0d, (6.87,7.32)))
dff3v3_v1.add(gdstk.Reference(c_sky130_fd_pr__pfet_g5v0d, (14.37,7.32)))
dff3v3_v1.add(gdstk.Reference(c_sky130_fd_pr__pfet_g5v0d, (15.87,7.32)))
dff3v3_v1.add(gdstk.Reference(c_sky130_fd_pr__pfet_g5v0d, (11.37,7.32)))
dff3v3_v1.add(gdstk.Reference(c_sky130_fd_pr__pfet_g5v0d, (12.87,7.32)))
dff3v3_v1.add(gdstk.Reference(c_sky130_fd_pr__pfet_g5v0d, (17.37,7.32)))
dff3v3_v1.add(gdstk.Reference(sky130_fd_pr__pfet_g5v0d, (20.89,10.71)))
dff3v3_v1.add(gdstk.Reference(c_sky130_fd_pr__pfet_g5v0d_, (18.77,7.32)))
dff3v3_v1.add(gdstk.Reference(c_sky130_fd_pr__pfet_g5v0d, (20.22,7.32)))
dff3v3_v1.add(gdstk.Reference(c_sky130_fd_pr__pfet_g5v0d, (21.67,7.32)))
dff3v3_v1.add(gdstk.Reference(c_sky130_fd_pr__pfet_g5v0d, (23.17,7.32)))
dff3v3_v1.add(gdstk.Reference(c_sky130_fd_pr__pfet_g5v0d__, (24.67,7.32)))
dff3v3_v1.add(gdstk.Label('hold', (8.9,5.4), layer=69, texttype=5))
dff3v3_v1.add(gdstk.Label('ck', (5.9,6.1), layer=68, texttype=5))
dff3v3_v1.add(gdstk.Label('xck', (4.84,6.08), layer=68, texttype=5))
dff3v3_v1.add(gdstk.Label('VDD', (25.5,8.7), layer=69, texttype=5))
dff3v3_v1.add(gdstk.Label('XQ', (24.2,5.3), layer=69, texttype=5))
dff3v3_v1.add(gdstk.Label('DATA', (1.96,5.5), layer=69, texttype=5))
dff3v3_v1.add(gdstk.Label('Q', (22.6,4.4), layer=69, texttype=5))
dff3v3_v1.add(gdstk.Label('CKP', (2.06,4.44), layer=69, texttype=5))
dff3v3_v1.add(gdstk.Label('GND', (25.3,1.7), layer=69, texttype=5))

lib.write_gds('DFF3V3_v1.gds')
